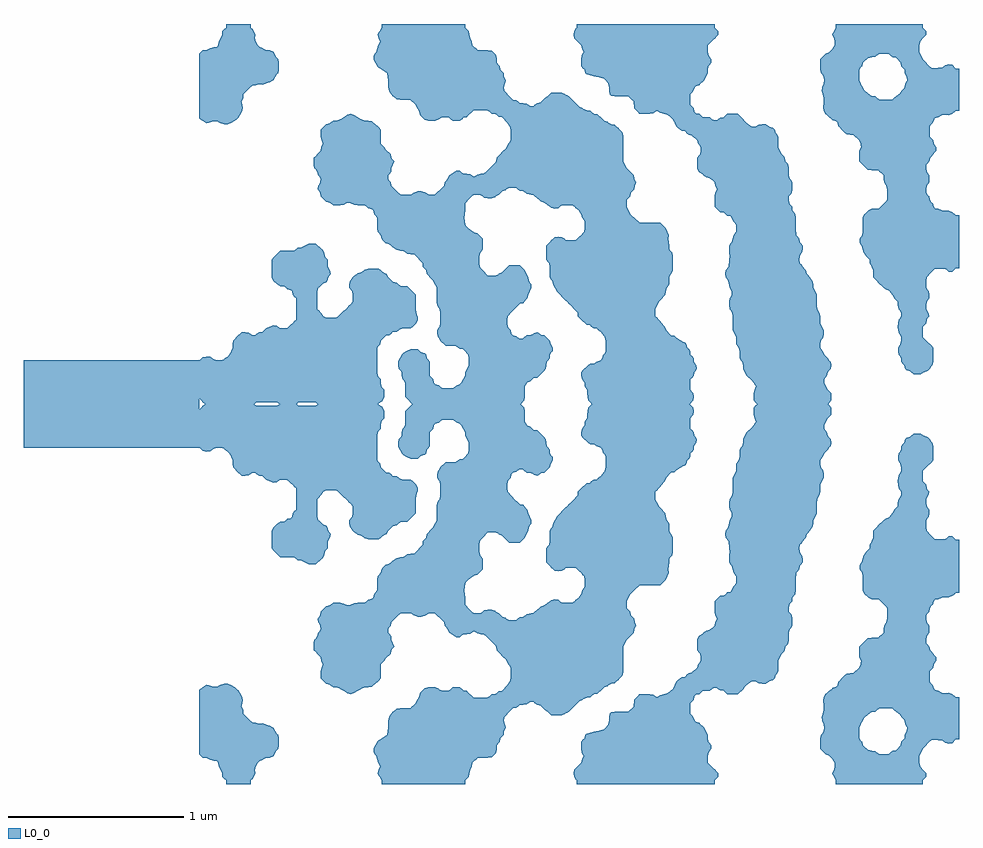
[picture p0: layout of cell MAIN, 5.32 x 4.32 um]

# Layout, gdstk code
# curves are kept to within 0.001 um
import gdstk
lib = gdstk.Library(unit=1e-6, precision=1e-09)
def R(c, l, rs):  # rectangles x0, y0, x1, y1
    for r in rs: c.add(gdstk.rectangle(r[:2], r[2:], *l))
def P(c, l, *ps):  # polygons
    for p in ps: c.add(gdstk.Polygon(p, *l))
L0_0 = (0, 0)

main_y = lib.new_cell('MAIN_Y')
R(main_y, L0_0, [(-3.125,0,-2.125,0.25)])
P(main_y, L0_0, [(-1.945,1.6),(-1.925,1.61),(-1.913,1.62),(-1.895,1.64),(-1.885,1.66),(-1.878,1.68),(-1.887,1.72),(-1.877,1.74),(-1.875,1.76),(-1.865,1.771),(-1.825,1.81),(-1.805,1.812),(-1.785,1.818),(-1.765,1.816),(-1.745,1.822),(-1.705,1.84),(-1.695,1.86),(-1.678,1.88),(-1.675,1.9),(-1.676,1.96),(-1.694,1.98),(-1.705,2.002),(-1.725,2.01),(-1.745,2.011),(-1.765,2.022),(-1.785,2.03),(-1.795,2.04),(-1.806,2.06),(-1.81,2.08),(-1.809,2.1),(-1.815,2.12),(-1.833,2.14),(-1.833,2.16),(-1.974,2.16),(-1.974,2.14),(-1.995,2.12),(-1.996,2.1),(-2.014,2.06),(-2.017,2.04),(-2.025,2.032),(-2.045,2.029),(-2.065,2.022),(-2.085,2.012),(-2.105,2.01),(-2.125,1.99),(-2.125,1.625),(-2.105,1.609),(-2.085,1.596),(-2.045,1.608),(-2.025,1.608),(-2.005,1.597),(-1.985,1.591),(-1.965,1.591)],
  [(1.455,0.007),(1.465,0.02),(1.465,0.06),(1.445,0.08),(1.425,0.12),(1.425,0.14),(1.441,0.16),(1.445,0.18),(1.463,0.2),(1.465,0.22),(1.462,0.24),(1.445,0.26),(1.425,0.28),(1.418,0.3),(1.405,0.32),(1.407,0.36),(1.421,0.38),(1.424,0.4),(1.423,0.42),(1.411,0.44),(1.405,0.46),(1.405,0.5),(1.397,0.52),(1.386,0.54),(1.385,0.62),(1.365,0.66),(1.365,0.68),(1.359,0.7),(1.335,0.733),(1.328,0.74),(1.321,0.76),(1.288,0.8),(1.285,0.82),(1.286,0.84),(1.295,0.856),(1.299,0.86),(1.304,0.88),(1.304,0.9),(1.288,0.92),(1.285,0.94),(1.266,0.96),(1.264,1),(1.265,1.06),(1.261,1.08),(1.245,1.1),(1.244,1.12),(1.227,1.14),(1.225,1.16),(1.226,1.18),(1.242,1.2),(1.245,1.22),(1.244,1.26),(1.235,1.276),(1.231,1.28),(1.228,1.29),(0.755,1.29),(0.775,1.282),(0.795,1.269),(0.804,1.26),(0.807,1.24),(0.817,1.22),(0.807,1.2),(0.803,1.14),(0.805,1.12),(0.835,1.09),(0.855,1.09),(0.875,1.071),(0.895,1.067),(0.902,1.06),(0.908,1.04),(0.925,1.02),(0.925,0.98),(0.911,0.96),(0.901,0.92),(0.886,0.9),(0.885,0.88),(0.888,0.84),(0.884,0.78),(0.866,0.76),(0.866,0.72),(0.882,0.7),(0.888,0.66),(0.902,0.64),(0.902,0.62),(0.89,0.6),(0.886,0.58),(0.886,0.56),(0.889,0.54),(0.904,0.52),(0.906,0.42),(0.917,0.4),(0.925,0.38),(0.926,0.34),(0.941,0.32),(0.945,0.3),(0.946,0.26),(0.96,0.24),(0.965,0.22),(0.965,0.2),(0.986,0.16),(1.015,0.135),(1.04,0.1),(1.03,0.08),(1.025,0.06),(1.025,0.02),(1.046,0),(1.448,0)],
  [(1.225,1.3),(1.225,1.34),(1.223,1.36),(1.205,1.38),(1.202,1.4),(1.185,1.42),(1.165,1.46),(1.165,1.52),(1.152,1.54),(1.144,1.56),(1.135,1.569),(1.115,1.575),(1.11,1.58),(1.095,1.589),(1.075,1.59),(1.055,1.588),(1.035,1.575),(1.015,1.577),(0.995,1.59),(0.983,1.6),(0.935,1.65),(0.875,1.649),(0.855,1.63),(0.835,1.628),(0.815,1.614),(0.795,1.615),(0.775,1.629),(0.735,1.63),(0.715,1.649),(0.695,1.653),(0.688,1.66),(0.684,1.68),(0.666,1.7),(0.665,1.76),(0.683,1.78),(0.689,1.8),(0.695,1.806),(0.715,1.813),(0.744,1.84),(0.752,1.86),(0.765,1.88),(0.765,1.9),(0.768,1.92),(0.783,1.94),(0.783,1.96),(0.769,1.98),(0.765,2),(0.765,2.04),(0.825,2.1),(0.824,2.12),(0.804,2.14),(0.804,2.16),(0.02,2.16),(0.02,2.14),(0.004,2.12),(0.003,2.1),(0.005,2.08),(0.045,2.04),(0.059,2),(0.048,1.98),(0.045,1.96),(0.046,1.92),(0.064,1.9),(0.068,1.88),(0.075,1.873),(0.095,1.87),(0.115,1.863),(0.175,1.85),(0.185,1.84),(0.2,1.82),(0.204,1.8),(0.208,1.76),(0.215,1.753),(0.235,1.749),(0.255,1.748),(0.295,1.75),(0.315,1.746),(0.343,1.72),(0.347,1.68),(0.375,1.65),(0.435,1.65),(0.455,1.654),(0.475,1.666),(0.495,1.656),(0.535,1.644),(0.555,1.629),(0.564,1.62),(0.578,1.6),(0.586,1.58),(0.615,1.552),(0.635,1.549),(0.655,1.53),(0.675,1.525),(0.695,1.509),(0.704,1.5),(0.709,1.48),(0.715,1.474),(0.724,1.46),(0.725,1.44),(0.721,1.42),(0.705,1.4),(0.705,1.34),(0.713,1.32),(0.735,1.305),(0.74,1.3),(0.755,1.29),(1.228,1.29)],
  [(1.993,0.18),(2.015,0.19),(2.025,0.2),(2.04,0.22),(2.045,0.24),(2.047,0.28),(2.045,0.32),(2.035,0.335),(2.015,0.351),(1.986,0.38),(1.985,0.42),(1.987,0.44),(2.005,0.46),(2.009,0.48),(2.022,0.5),(2.018,0.52),(2.007,0.54),(2.006,0.56),(2.009,0.58),(2.022,0.6),(2.024,0.62),(2.02,0.64),(2.006,0.66),(2.005,0.7),(2.008,0.72),(2.025,0.74),(2.055,0.77),(2.115,0.769),(2.135,0.752),(2.155,0.752),(2.175,0.771),(2.195,0.771),(2.195,1.073),(2.175,1.073),(2.155,1.091),(2.135,1.099),(2.095,1.1),(2.075,1.109),(2.055,1.113),(2.048,1.12),(2.042,1.14),(2.025,1.16),(2.022,1.18),(2.006,1.2),(2.008,1.24),(2.022,1.26),(2.024,1.28),(2.023,1.3),(2.01,1.32),(2.006,1.34),(2.007,1.36),(2.024,1.38),(1.626,1.38),(1.675,1.331),(1.715,1.33),(1.735,1.325),(1.764,1.3),(1.767,1.26),(1.779,1.24),(1.784,1.22),(1.785,1.2),(1.785,1.16),(1.747,1.12),(1.735,1.11),(1.695,1.11),(1.678,1.1),(1.655,1.078),(1.645,1.06),(1.645,0.98),(1.642,0.96),(1.628,0.94),(1.627,0.92),(1.639,0.9),(1.651,0.86),(1.665,0.84),(1.684,0.82),(1.685,0.8),(1.697,0.78),(1.704,0.76),(1.705,0.72),(1.742,0.68),(1.755,0.67),(1.775,0.651),(1.795,0.645),(1.8,0.64),(1.815,0.619),(1.825,0.6),(1.843,0.58),(1.845,0.56),(1.85,0.54),(1.863,0.52),(1.863,0.5),(1.85,0.48),(1.846,0.46),(1.845,0.44),(1.846,0.42),(1.853,0.4),(1.863,0.38),(1.864,0.36),(1.859,0.34),(1.847,0.32),(1.846,0.3),(1.849,0.28),(1.864,0.26),(1.865,0.24),(1.88,0.22),(1.886,0.2),(1.895,0.191),(1.915,0.186),(1.935,0.17),(1.975,0.17)],
  [(1.415,1.8),(1.411,1.78),(1.419,1.76),(1.423,1.74),(1.424,1.72),(1.422,1.68),(1.425,1.66),(1.443,1.64),(1.475,1.614),(1.495,1.607),(1.502,1.6),(1.507,1.58),(1.525,1.56),(1.555,1.532),(1.595,1.529),(1.625,1.5),(1.633,1.48),(1.638,1.46),(1.626,1.44),(1.626,1.38),(2.024,1.38),(2.029,1.4),(2.063,1.44),(2.064,1.46),(2.048,1.48),(2.045,1.5),(2.025,1.52),(2.025,1.58),(2.043,1.6),(2.052,1.62),(2.055,1.623),(2.075,1.63),(2.095,1.642),(2.115,1.644),(2.135,1.641),(2.155,1.649),(2.175,1.666),(2.195,1.666),(2.195,1.907),(2.175,1.907),(2.155,1.927),(2.135,1.93),(2.115,1.926),(2.095,1.91),(2.035,1.91),(2.022,1.92),(2.005,1.94),(1.985,1.96),(1.979,1.98),(1.965,2),(1.965,2.04),(1.971,2.06),(2.005,2.1),(2.005,2.12),(1.986,2.14),(1.986,2.16),(1.493,2.16),(1.493,2.14),(1.471,2.1),(1.483,2.08),(1.485,2.04),(1.475,2.021),(1.456,2),(1.435,1.99),(1.405,1.96),(1.403,1.94),(1.405,1.9),(1.41,1.88),(1.424,1.86),(1.425,1.84),(1.625,1.84),(1.625,1.9),(1.641,1.92),(1.646,1.94),(1.675,1.966),(1.715,1.975),(1.735,1.989),(1.755,1.99),(1.795,1.989),(1.815,1.971),(1.835,1.968),(1.861,1.94),(1.865,1.92),(1.885,1.9),(1.885,1.88),(1.895,1.86),(1.899,1.84),(1.886,1.82),(1.885,1.8),(1.866,1.78),(1.851,1.76),(1.835,1.75),(1.815,1.731),(1.755,1.73),(1.735,1.732),(1.715,1.749),(1.695,1.75),(1.655,1.781),(1.633,1.82),(1.625,1.84),(1.425,1.84),(1.424,1.82)],
  [(-1.105,0.003),(-1.082,0.02),(-1.075,0.04),(-1.075,0.08),(-1.092,0.1),(-1.095,0.12),(-1.095,0.14),(-1.112,0.16),(-1.115,0.18),(-1.115,0.32),(-1.097,0.34),(-1.094,0.36),(-1.065,0.389),(-1.045,0.391),(-1.025,0.41),(-1.005,0.41),(-0.985,0.426),(-0.965,0.43),(-0.925,0.43),(-0.913,0.44),(-0.894,0.46),(-0.883,0.48),(-0.886,0.5),(-0.894,0.52),(-0.895,0.62),(-0.945,0.669),(-0.985,0.671),(-1.005,0.69),(-1.025,0.694),(-1.051,0.72),(-1.065,0.741),(-1.085,0.752),(-1.105,0.77),(-1.165,0.77),(-1.185,0.764),(-1.205,0.75),(-1.225,0.742),(-1.245,0.73),(-1.255,0.72),(-1.269,0.7),(-1.275,0.68),(-1.274,0.66),(-1.256,0.64),(-1.255,0.62),(-1.255,0.58),(-1.265,0.568),(-1.292,0.54),(-1.305,0.53),(-1.345,0.492),(-1.365,0.49),(-1.405,0.49),(-1.425,0.504),(-1.436,0.52),(-1.455,0.54),(-1.455,0.64),(-1.45,0.66),(-1.425,0.683),(-1.405,0.693),(-1.398,0.7),(-1.394,0.72),(-1.379,0.74),(-1.384,0.76),(-1.395,0.78),(-1.397,0.82),(-1.414,0.84),(-1.415,0.86),(-1.425,0.876),(-1.465,0.91),(-1.505,0.91),(-1.545,0.89),(-1.565,0.889),(-1.585,0.871),(-1.665,0.87),(-1.677,0.86),(-1.705,0.832),(-1.715,0.82),(-1.715,0.72),(-1.705,0.702),(-1.683,0.68),(-1.665,0.67),(-1.645,0.67),(-1.625,0.653),(-1.605,0.648),(-1.597,0.64),(-1.594,0.62),(-1.576,0.6),(-1.574,0.52),(-1.575,0.48),(-1.585,0.469),(-1.625,0.432),(-1.645,0.43),(-1.665,0.431),(-1.685,0.444),(-1.705,0.448),(-1.745,0.43),(-1.765,0.412),(-1.785,0.409),(-1.798,0.4),(-1.805,0.393),(-1.825,0.392),(-1.845,0.406),(-1.865,0.409),(-1.885,0.407),(-1.905,0.39),(-1.933,0.36),(-1.935,0.32),(-1.943,0.3),(-1.955,0.28),(-1.965,0.27),(-1.985,0.255),(-2.005,0.25),(-2.025,0.25),(-2.045,0.253),(-2.065,0.269),(-2.085,0.27),(-2.105,0.265),(-2.125,0.246),(-2.125,0.032),(-2.115,0.02),(-2.093,0),(-1.814,0),(-1.805,0.008),(-1.785,0.01),(-1.685,0.01),(-1.668,0),(-1.573,0),(-1.565,0.007),(-1.545,0.01),(-1.465,0.009),(-1.453,0),(-1.108,0)],
  [(-0.87,2.16),(-1.088,2.16),(-1.088,2.14),(-1.112,2.1),(-1.098,2.06),(-1.108,2.04),(-1.12,2),(-1.135,1.98),(-1.135,1.96),(-1.114,1.92),(-1.105,1.911),(-1.085,1.9),(-1.065,1.886),(-1.059,1.88),(-1.053,1.84),(-1.053,1.8),(-1.047,1.78),(-1.035,1.76),(-1.005,1.732),(-0.925,1.728),(-0.895,1.7),(-0.875,1.66),(-0.87,1.64)],
  [(-0.87,1.209),(-0.885,1.209),(-0.905,1.202),(-0.925,1.19),(-0.985,1.191),(-1.035,1.24),(-1.039,1.26),(-1.053,1.28),(-1.051,1.3),(-1.045,1.306),(-1.036,1.32),(-1.035,1.34),(-1.019,1.38),(-1.034,1.4),(-1.037,1.42),(-1.065,1.445),(-1.076,1.46),(-1.094,1.48),(-1.095,1.56),(-1.113,1.58),(-1.145,1.607),(-1.165,1.61),(-1.185,1.61),(-1.205,1.618),(-1.245,1.641),(-1.265,1.649),(-1.285,1.643),(-1.325,1.618),(-1.345,1.61),(-1.365,1.61),(-1.385,1.597),(-1.405,1.59),(-1.435,1.56),(-1.435,1.52),(-1.431,1.5),(-1.424,1.48),(-1.434,1.46),(-1.435,1.44),(-1.474,1.4),(-1.475,1.38),(-1.475,1.36),(-1.472,1.34),(-1.455,1.32),(-1.449,1.3),(-1.437,1.28),(-1.438,1.26),(-1.45,1.24),(-1.452,1.22),(-1.439,1.2),(-1.435,1.18),(-1.405,1.15),(-1.385,1.145),(-1.365,1.13),(-1.325,1.13),(-1.305,1.134),(-1.285,1.143),(-1.265,1.141),(-1.245,1.132),(-1.225,1.13),(-1.185,1.13),(-1.165,1.112),(-1.145,1.108),(-1.137,1.1),(-1.132,1.08),(-1.115,1.06),(-1.115,1),(-1.112,0.98),(-1.095,0.96),(-1.09,0.94),(-1.065,0.914),(-1.045,0.909),(-1.025,0.89),(-1.005,0.877),(-0.985,0.87),(-0.965,0.869),(-0.945,0.855),(-0.925,0.85),(-0.905,0.85),(-0.87,0.815)],
  [(-0.87,0.298),(-0.885,0.31),(-0.925,0.31),(-0.945,0.304),(-0.965,0.29),(-0.975,0.28),(-0.995,0.24),(-0.993,0.2),(-0.976,0.18),(-0.975,0.16),(-0.969,0.14),(-0.955,0.12),(-0.954,0.04),(-0.915,0),(-0.87,0)],
  [(-0.765,1.619),(-0.745,1.629),(-0.725,1.63),(-0.705,1.627),(-0.685,1.611),(-0.645,1.61),(-0.625,1.626),(-0.605,1.631),(-0.565,1.669),(-0.545,1.67),(-0.505,1.67),(-0.485,1.668),(-0.465,1.65),(-0.445,1.65),(-0.425,1.632),(-0.425,1.926),(-0.435,1.94),(-0.437,1.98),(-0.465,2.009),(-0.525,2.01),(-0.545,2.015),(-0.565,2.03),(-0.575,2.04),(-0.578,2.06),(-0.586,2.08),(-0.595,2.12),(-0.614,2.14),(-0.614,2.16),(-0.87,2.16),(-0.87,1.64),(-0.845,1.615),(-0.825,1.61),(-0.785,1.61)],
  [(-0.425,0.738),(-0.445,0.73),(-0.485,0.73),(-0.515,0.76),(-0.532,0.78),(-0.535,0.8),(-0.535,0.84),(-0.529,0.86),(-0.515,0.88),(-0.515,0.94),(-0.545,0.97),(-0.565,0.976),(-0.585,0.99),(-0.605,1.008),(-0.615,1.02),(-0.619,1.06),(-0.616,1.08),(-0.615,1.14),(-0.585,1.172),(-0.565,1.19),(-0.525,1.188),(-0.505,1.171),(-0.485,1.17),(-0.465,1.17),(-0.445,1.176),(-0.425,1.19),(-0.425,1.41),(-0.435,1.4),(-0.437,1.38),(-0.455,1.36),(-0.505,1.311),(-0.525,1.31),(-0.565,1.293),(-0.585,1.305),(-0.605,1.31),(-0.625,1.31),(-0.645,1.325),(-0.665,1.327),(-0.685,1.311),(-0.705,1.3),(-0.715,1.28),(-0.732,1.26),(-0.735,1.24),(-0.785,1.191),(-0.825,1.191),(-0.845,1.205),(-0.87,1.209),(-0.87,0.815),(-0.855,0.8),(-0.855,0.78),(-0.836,0.76),(-0.834,0.74),(-0.795,0.7),(-0.788,0.68),(-0.775,0.66),(-0.774,0.56),(-0.759,0.54),(-0.755,0.52),(-0.755,0.46),(-0.76,0.44),(-0.774,0.42),(-0.774,0.4),(-0.768,0.38),(-0.755,0.36),(-0.725,0.33),(-0.665,0.328),(-0.645,0.314),(-0.625,0.31),(-0.597,0.28),(-0.595,0.26),(-0.595,0.22),(-0.615,0.18),(-0.615,0.16),(-0.627,0.14),(-0.636,0.12),(-0.645,0.111),(-0.665,0.103),(-0.685,0.09),(-0.745,0.09),(-0.765,0.106),(-0.785,0.111),(-0.794,0.12),(-0.797,0.14),(-0.815,0.16),(-0.816,0.24),(-0.833,0.26),(-0.837,0.28),(-0.845,0.288),(-0.865,0.294),(-0.87,0.298),(-0.87,0),(-0.425,0)],
  [(-0.385,1.215),(-0.365,1.23),(-0.325,1.229),(-0.305,1.211),(-0.285,1.21),(-0.265,1.194),(-0.225,1.186),(-0.185,1.152),(-0.165,1.145),(-0.125,1.115),(-0.105,1.111),(-0.085,1.112),(-0.065,1.129),(-0.034,1.13),(-0.034,1.754),(-0.045,1.758),(-0.065,1.77),(-0.125,1.769),(-0.145,1.75),(-0.159,1.74),(-0.185,1.714),(-0.205,1.709),(-0.218,1.7),(-0.225,1.693),(-0.245,1.692),(-0.265,1.707),(-0.285,1.71),(-0.305,1.71),(-0.325,1.727),(-0.345,1.73),(-0.365,1.748),(-0.392,1.78),(-0.394,1.8),(-0.384,1.84),(-0.394,1.86),(-0.395,1.88),(-0.415,1.9),(-0.419,1.92),(-0.425,1.926),(-0.425,1.632),(-0.405,1.63),(-0.375,1.6),(-0.362,1.58),(-0.355,1.56),(-0.355,1.5),(-0.369,1.48),(-0.377,1.46),(-0.405,1.433),(-0.425,1.41),(-0.425,1.19),(-0.405,1.21)],
  [(-0.034,0.932),(-0.045,0.935),(-0.05,0.94),(-0.065,0.949),(-0.085,0.95),(-0.105,0.948),(-0.125,0.93),(-0.154,0.9),(-0.155,0.88),(-0.154,0.82),(-0.138,0.8),(-0.135,0.78),(-0.135,0.72),(-0.12,0.7),(-0.115,0.68),(-0.095,0.64),(-0.034,0.58)],
  [(-0.279,0.02),(-0.275,0.04),(-0.275,0.1),(-0.265,0.119),(-0.245,0.13),(-0.225,0.149),(-0.205,0.15),(-0.185,0.168),(-0.156,0.2),(-0.152,0.24),(-0.135,0.26),(-0.134,0.28),(-0.125,0.293),(-0.118,0.3),(-0.116,0.32),(-0.128,0.34),(-0.135,0.36),(-0.165,0.39),(-0.185,0.395),(-0.205,0.408),(-0.225,0.401),(-0.245,0.39),(-0.265,0.39),(-0.285,0.374),(-0.305,0.371),(-0.325,0.386),(-0.345,0.391),(-0.354,0.4),(-0.356,0.42),(-0.374,0.44),(-0.375,0.48),(-0.373,0.5),(-0.345,0.531),(-0.305,0.569),(-0.285,0.574),(-0.279,0.58),(-0.263,0.6),(-0.249,0.64),(-0.238,0.66),(-0.24,0.68),(-0.254,0.7),(-0.255,0.72),(-0.267,0.74),(-0.275,0.76),(-0.305,0.789),(-0.365,0.789),(-0.405,0.75),(-0.425,0.738),(-0.425,0),(-0.299,0)],
  [(0.682,0.02),(0.685,0.04),(0.681,0.06),(0.665,0.08),(0.666,0.14),(0.685,0.16),(0.688,0.18),(0.703,0.2),(0.698,0.22),(0.685,0.24),(0.685,0.26),(0.666,0.28),(0.665,0.3),(0.649,0.32),(0.643,0.34),(0.635,0.348),(0.595,0.37),(0.575,0.388),(0.555,0.392),(0.527,0.42),(0.519,0.44),(0.504,0.46),(0.467,0.5),(0.465,0.54),(0.477,0.56),(0.485,0.58),(0.505,0.6),(0.522,0.62),(0.525,0.64),(0.531,0.66),(0.545,0.68),(0.545,0.72),(0.557,0.74),(0.565,0.76),(0.565,0.84),(0.563,0.86),(0.545,0.88),(0.545,0.9),(0.541,0.94),(0.542,0.96),(0.535,0.98),(0.525,1),(0.495,1.03),(0.395,1.03),(0.375,1.034),(0.355,1.05),(0.325,1.08),(0.313,1.1),(0.305,1.12),(0.305,1.16),(0.324,1.18),(0.326,1.2),(0.345,1.22),(0.35,1.24),(0.358,1.26),(0.355,1.263),(0.346,1.28),(0.343,1.3),(0.305,1.34),(0.291,1.36),(0.285,1.38),(0.285,1.52),(0.282,1.54),(0.265,1.56),(0.235,1.587),(0.215,1.59),(0.195,1.603),(0.175,1.61),(0.155,1.63),(0.135,1.646),(0.115,1.65),(0.095,1.667),(0.075,1.67),(0.035,1.69),(-0.025,1.75),(-0.034,1.754),(-0.034,1.13),(-0.005,1.13),(0.03,1.1),(0.045,1.08),(0.052,1.06),(0.065,1.04),(0.065,1),(0.062,0.98),(0.045,0.96),(0.015,0.932),(-0.005,0.93),(-0.025,0.93),(-0.034,0.932),(-0.034,0.58),(0.024,0.52),(0.026,0.5),(0.045,0.48),(0.075,0.45),(0.095,0.447),(0.115,0.43),(0.135,0.428),(0.165,0.4),(0.18,0.38),(0.185,0.36),(0.185,0.3),(0.171,0.28),(0.164,0.26),(0.155,0.25),(0.115,0.23),(0.095,0.23),(0.062,0.2),(0.045,0.18),(0.045,0.16),(0.05,0.14),(0.065,0.12),(0.066,0.1),(0.078,0.08),(0.081,0.04),(0.085,0.02),(0.104,0),(0.662,0)])

main = lib.new_cell('MAIN')
main.add(gdstk.Reference(main_y, (0,0)))
main.add(gdstk.Reference(main_y, (0,0), x_reflection=True))

lib.write_gds('MAIN.gds')
